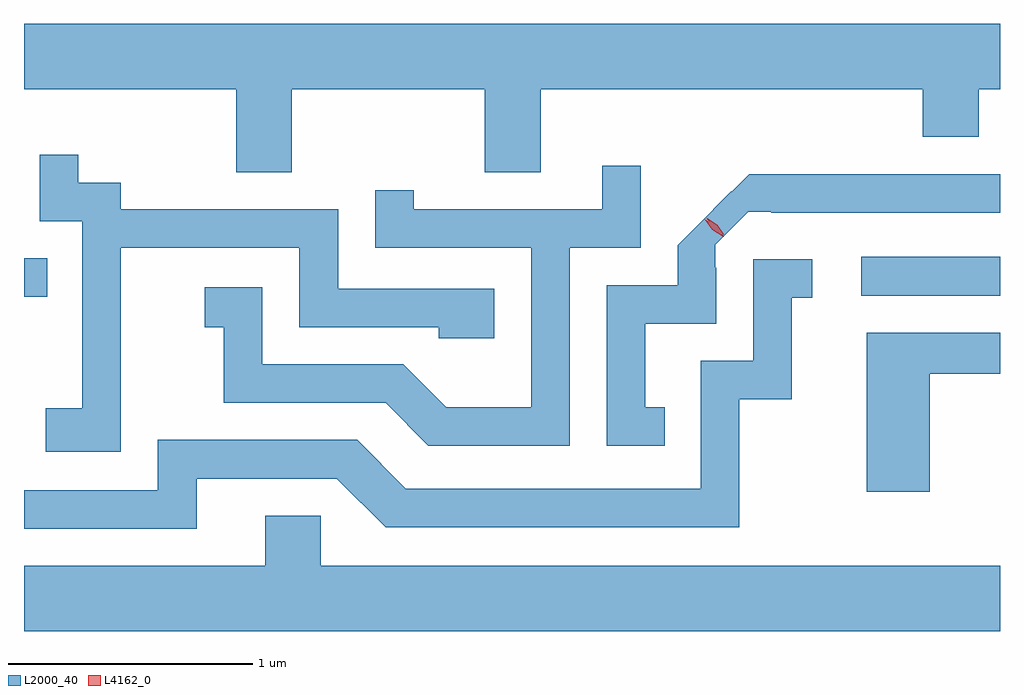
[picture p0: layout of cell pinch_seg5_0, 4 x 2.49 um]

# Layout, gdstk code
import gdstk
lib = gdstk.Library(unit=1e-6, precision=1e-09)
def R(c, l, rs):  # rectangles x0, y0, x1, y1
    for r in rs: c.add(gdstk.rectangle(r[:2], r[2:], *l))
def P(c, l, *ps):  # polygons
    for p in ps: c.add(gdstk.Polygon(p, *l))
L2000_40 = (2000, 40)
L4162_0 = (4162, 0)

pinch_seg5_0 = lib.new_cell('pinch_seg5_0')
R(pinch_seg5_0, L2000_40, [(878.552,1495.906,878.648,1496.064), (881.983,1495.911,882.552,1496.069)])
P(pinch_seg5_0, L2000_40, [(879.649,1496.756),(880.441,1496.756),(880.441,1496.416),(880.669,1496.416),(880.669,1496.756),(882.236,1496.756),(882.236,1496.561),(882.464,1496.561),(882.464,1496.756),(882.552,1496.756),(882.552,1497.024),(878.552,1497.024),(878.552,1496.756),(879.421,1496.756),(879.421,1496.416),(879.649,1496.416)],
  [(878.949,1496.106),(879.681,1496.106),(879.681,1495.781),(880.251,1495.781),(880.251,1495.736),(880.479,1495.736),(880.479,1495.939),(879.839,1495.939),(879.839,1496.264),(878.949,1496.264),(878.949,1496.374),(878.774,1496.374),(878.774,1496.488),(878.616,1496.488),(878.616,1496.216),(878.791,1496.216),(878.791,1495.449),(878.641,1495.449),(878.641,1495.271),(878.949,1495.271)],
  [(880.789,1496.106),(881.079,1496.106),(881.079,1496.443),(880.921,1496.443),(880.921,1496.264),(880.149,1496.264),(880.149,1496.343),(879.991,1496.343),(879.991,1496.106),(880.631,1496.106),(880.631,1495.454),(880.282,1495.454),(880.107,1495.629),(879.529,1495.629),(879.529,1495.944),(879.293,1495.944),(879.293,1495.781),(879.371,1495.781),(879.371,1495.471),(880.034,1495.471),(880.209,1495.296),(880.789,1495.296)],
  [(881.178,1495.454),(881.099,1495.454),(881.099,1495.796),(881.389,1495.796),(881.389,1496.025),(881.385,1496.025),(881.385,1496.12),(881.521,1496.255),(881.615,1496.255),(881.615,1496.251),(882.552,1496.251),(882.552,1496.409),(881.524,1496.409),(881.452,1496.337),(881.45,1496.339),(881.376,1496.265),(881.377,1496.263),(881.231,1496.117),(881.231,1495.954),(880.941,1495.954),(880.941,1495.296),(881.178,1495.296)],
  [(879.259,1495.161),(879.834,1495.161),(880.034,1494.961),(881.484,1494.961),(881.484,1495.486),(881.699,1495.486),(881.699,1495.901),(881.783,1495.901),(881.783,1496.059),(881.541,1496.059),(881.541,1495.644),(881.326,1495.644),(881.326,1495.119),(880.117,1495.119),(879.917,1495.319),(879.101,1495.319),(879.101,1495.114),(878.552,1495.114),(878.552,1494.956),(879.259,1494.956)],
  [(882.264,1495.591),(882.552,1495.591),(882.552,1495.759),(882.006,1495.759),(882.006,1495.106),(882.264,1495.106)],
  [(882.552,1494.804),(879.769,1494.804),(879.769,1495.009),(879.541,1495.009),(879.541,1494.804),(878.552,1494.804),(878.552,1494.536),(882.552,1494.536)])
P(pinch_seg5_0, L4162_0, [(881.418,1496.152),(881.373,1496.181),(881.341,1496.223),(881.341,1496.224),(881.341,1496.224),(881.386,1496.195),(881.419,1496.153),(881.419,1496.152)],
  [(881.42,1496.161),(881.379,1496.187),(881.351,1496.227),(881.351,1496.228),(881.352,1496.228),(881.393,1496.202),(881.42,1496.162),(881.42,1496.161)])

lib.write_gds('pinch_seg5_0.gds')
